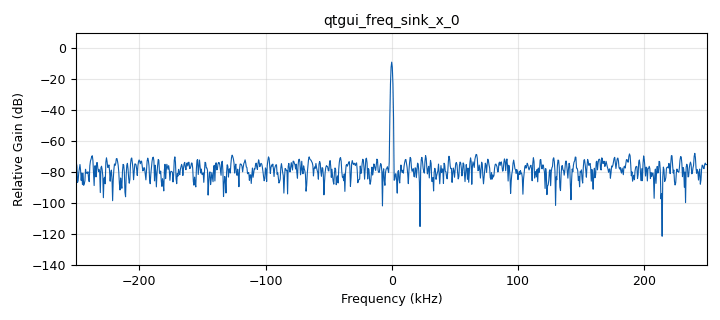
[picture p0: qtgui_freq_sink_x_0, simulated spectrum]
options:
  parameters:
    author: Stefano Speretta
    generate_options: qt_gui
    id: residual_carrier
    output_language: python
    title: Residual Carrier
  states: {}

blocks:
- name: frequency
  id: variable_qtgui_range
  parameters:
    label: Center frequency (Hz)
    orient: Qt.Horizontal
    start: '-10e3'
    step: '100'
    stop: 10e3
    value: '0'
  states: {}
- name: modulation_coeff
  id: variable_qtgui_range
  parameters:
    label: Modulation Coefficent
    orient: Qt.Horizontal
    start: '0'
    step: '0.1'
    stop: '1.4'
    value: '0'
    widget: counter
  states: {}
- name: modulation_coeff_ranging
  id: variable_qtgui_range
  parameters:
    label: Ranging Modulation Coefficent
    orient: Qt.Horizontal
    start: '0'
    step: '0.1'
    stop: '1.4'
    value: '0'
    widget: counter
  states: {}
- name: samp_rate
  id: variable
  parameters:
    value: '500000'
  states: {}
- name: snr
  id: variable_qtgui_range
  parameters:
    label: SNR (dB)
    orient: Qt.Horizontal
    start: '-20'
    step: '1'
    stop: '50'
    value: '20'
  states: {}
- name: subcarrier
  id: variable_qtgui_range
  parameters:
    label: Subcarrier Frequency (Hz)
    orient: Qt.Horizontal
    start: '1000'
    step: '1000'
    stop: '20000'
    value: '4000'
    widget: counter
  states: {}
- name: variables_loop_filter_2ndorder_0
  id: variables_loop_filter_2ndorder
  parameters:
    damping: '0.707'
    natural_freq: '100'
    samp_rate: samp_rate
  states: {}
- name: analog_noise_source_x_0
  id: analog_noise_source_x
  parameters:
    amp: 10**(-snr/10)
    noise_type: analog.GR_GAUSSIAN
    seed: '0'
    type: complex
  states: {}
- name: analog_phase_modulator_fc_0
  id: analog_phase_modulator_fc
  parameters:
    sensitivity: '1'
  states: {}
- name: analog_sig_source_x_2_0
  id: analog_sig_source_x
  parameters:
    amp: modulation_coeff
    freq: subcarrier
    offset: '0'
    phase: '0'
    samp_rate: samp_rate
    type: float
    waveform: analog.GR_SIN_WAVE
  states: {}
- name: analog_sig_source_x_2_0_0
  id: analog_sig_source_x
  parameters:
    amp: modulation_coeff_ranging
    freq: '48000'
    offset: '0'
    phase: '0'
    samp_rate: samp_rate
    type: float
    waveform: analog.GR_SIN_WAVE
  states: {}
- name: analog_sig_source_x_2_1
  id: analog_sig_source_x
  parameters:
    amp: '1'
    freq: frequency
    offset: '0'
    phase: '0'
    samp_rate: samp_rate
    type: complex
    waveform: analog.GR_SIN_WAVE
  states: {}
- name: blocks_add_xx_0
  id: blocks_add_xx
  parameters:
    type: float
  states: {}
- name: blocks_add_xx_1
  id: blocks_add_xx
  parameters:
    type: complex
  states: {}
- name: blocks_multiply_xx_0
  id: blocks_multiply_xx
  parameters:
    type: complex
  states: {}
- name: blocks_null_sink_0
  id: blocks_null_sink
  parameters:
    type: complex
  states: {}
- name: blocks_null_sink_1
  id: blocks_null_sink
  parameters:
    type: float
  states: {}
- name: blocks_throttle_0
  id: blocks_throttle
  parameters:
    samples_per_second: samp_rate
    type: float
  states: {}
- name: ecss_pll_0
  id: ecss_pll
  parameters:
    N: '38'
    bw: '5000.0'
    coefficients: variables_loop_filter_2ndorder_0
    freq_central: '0.0'
    samp_rate: samp_rate
  states: {}
- name: qtgui_freq_sink_x_0
  id: qtgui_freq_sink_x
  parameters:
    bw: samp_rate
    fc: '0'
    fftsize: '1024'
    type: complex
    wintype: firdes.WIN_BLACKMAN_hARRIS
  states: {}
- name: qtgui_freq_sink_x_0_0
  id: qtgui_freq_sink_x
  parameters:
    bw: samp_rate
    fc: '0'
    fftsize: '1024'
    name: input
    nconnections: '2'
    type: float
    wintype: firdes.WIN_BLACKMAN_hARRIS
    ymax: '0'
    ymin: '-100'
  states: {}

connections:
- [analog_noise_source_x_0, '0', blocks_add_xx_1, '0']
- [analog_phase_modulator_fc_0, '0', blocks_multiply_xx_0, '1']
- [analog_sig_source_x_2_0, '0', blocks_throttle_0, '0']
- [analog_sig_source_x_2_0_0, '0', blocks_add_xx_0, '1']
- [analog_sig_source_x_2_1, '0', blocks_multiply_xx_0, '0']
- [blocks_add_xx_0, '0', analog_phase_modulator_fc_0, '0']
- [blocks_add_xx_0, '0', qtgui_freq_sink_x_0_0, '1']
- [blocks_add_xx_1, '0', ecss_pll_0, '0']
- [blocks_add_xx_1, '0', qtgui_freq_sink_x_0, '0']
- [blocks_multiply_xx_0, '0', blocks_add_xx_1, '1']
- [blocks_throttle_0, '0', blocks_add_xx_0, '0']
- [ecss_pll_0, '0', blocks_null_sink_0, '0']
- [ecss_pll_0, '1', blocks_null_sink_1, '0']
- [ecss_pll_0, '2', qtgui_freq_sink_x_0_0, '0']

metadata:
  file_format: 1
